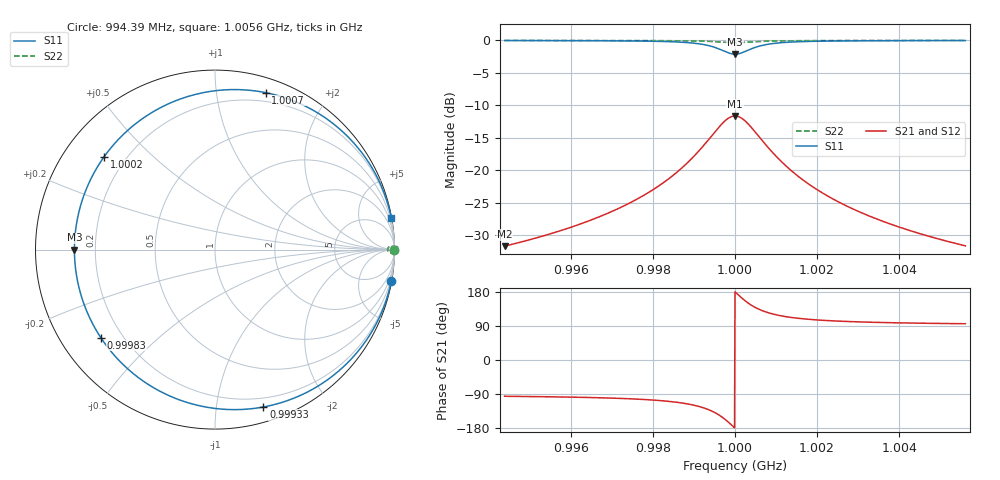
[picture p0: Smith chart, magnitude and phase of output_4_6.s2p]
! File generated for n1 = 4, n2 = 6
! b1 = 10.000000
! b2 = 0.215443
! Q0 = 10000.000000
! f0 = 1000000000.000000
! n = 1001
! rel_span = 10.000000
# Hz S RI R 50
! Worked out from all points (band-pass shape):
!   1001 points, 994.39 MHz to 1.0056 GHz, reference 50 ohm
!   highest |S21| = -11.64 dB at 1 GHz (marker M1); lowest = -31.7 dB at 994.39 MHz (marker M2)
!   |S21| within 3 dB of the highest: 999.4407 MHz to 1.00056 GHz (1.119 MHz wide, 0.112 % of centre)
!   lowest |S11| = -2.1 dB at 1 GHz (marker M3), VSWR 8.23, Z = 6.08 + j0 ohm
!   |S11| at or under -10 dB: nowhere
!   |S22| runs from -0.3 to 0.0 dB; largest |S21 - S12| = 0
!   S11 on the Smith chart (normalised r, x): 994.39 MHz: 0, -11; 999.33 MHz: 0.12, -1.35; 999.83 MHz: 0.12, -0.34; 1.0002 GHz: 0.12, +0.36; 1.0007 GHz: 0.12, +1.37; 1.0056 GHz: 0, +11
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9.943923e8  0.9824 -0.1761  -0.00258 -0.0258  -0.00258 -0.0258  0.9996 -0.00379
9.962653e8  0.9608 -0.2614  -0.00575 -0.0384  -0.00575 -0.0384  0.9992 -0.00563
9.973307e8  0.9248 -0.3584  -0.011 -0.0526  -0.011 -0.0526  0.9984 -0.00772
9.981382e8  0.8519 -0.4921  -0.0217 -0.0722  -0.0217 -0.0722  0.9968 -0.0106
9.98856e8  0.6548 -0.7045  -0.0507 -0.1034  -0.0507 -0.1034  0.9926 -0.0152
9.99114e8  0.4903 -0.8057  -0.0748 -0.1183  -0.0748 -0.1183  0.989 -0.0174
9.993271e8  0.2694 -0.877  -0.1072 -0.1287  -0.1072 -0.1287  0.9843 -0.0189
9.996075e8  -0.1967 -0.8378  -0.1756 -0.123  -0.1756 -0.123  0.9742 -0.0181
9.997196e8  -0.4265 -0.7134  -0.2094 -0.1047  -0.2094 -0.1047  0.9693 -0.0154
9.998318e8  -0.636 -0.4908  -0.2401 -0.072  -0.2401 -0.072  0.9648 -0.0106
1e9  -0.7833 0  -0.2617 0  -0.2617 0  0.9616 0
1.00009e9  -0.7387 0.2782  -0.2552 0.0408  -0.2552 0.0408  0.9625 0.00599
1.000179e9  -0.6176 0.5176  -0.2374 0.076  -0.2374 0.076  0.9651 0.0112
1.00028e9  -0.4267 0.7132  -0.2094 0.1047  -0.2094 0.1047  0.9693 0.0154
1.000393e9  -0.197 0.8377  -0.1757 0.123  -0.1757 0.123  0.9742 0.018
1.000516e9  0.034 0.8885  -0.1418 0.1304  -0.1418 0.1304  0.9792 0.0191
1.000684e9  0.2831 0.8743  -0.1052 0.1283  -0.1052 0.1283  0.9846 0.0188
1.000897e9  0.4988 0.8016  -0.0736 0.1177  -0.0736 0.1177  0.9892 0.0173
1.001155e9  0.6596 0.7008  -0.05 0.1029  -0.05 0.1029  0.9927 0.0151
1.001873e9  0.853 0.4904  -0.0216 0.072  -0.0216 0.072  0.9968 0.0106
1.003746e9  0.9608 0.2616  -0.00576 0.0384  -0.00576 0.0384  0.9992 0.00564
1.005608e9  0.9822 0.177  -0.00261 0.026  -0.00261 0.026  0.9996 0.00381
